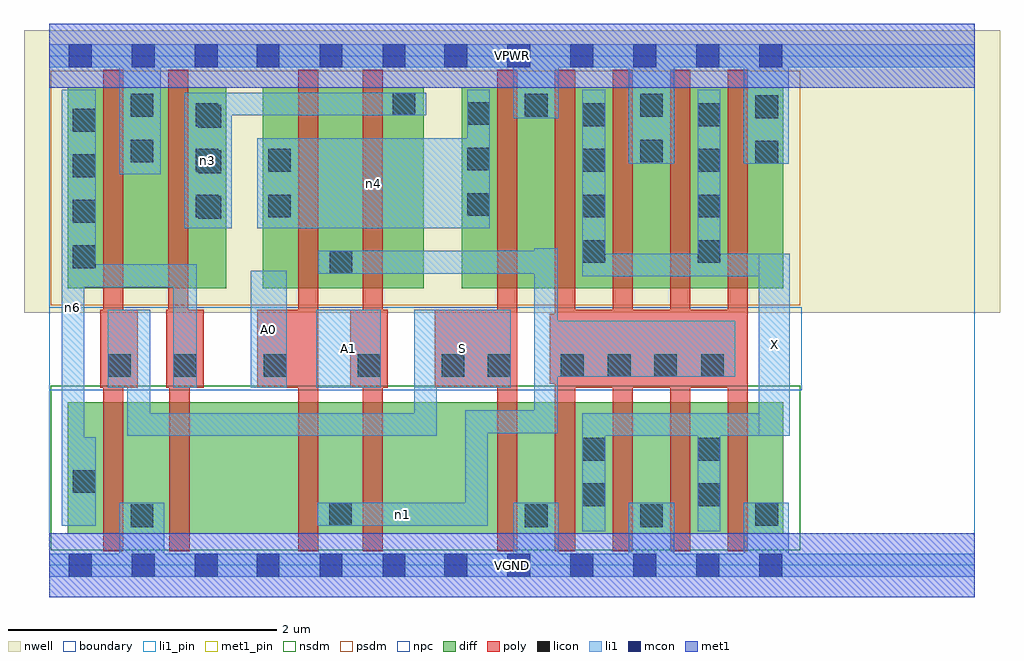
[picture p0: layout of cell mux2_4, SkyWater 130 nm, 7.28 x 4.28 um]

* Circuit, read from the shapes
.subckt mux2_4 A0 A1 S VGND VPWR X n1 n3 n4 n6
XM1 VGND S n6 VSUBS sky130_fd_pr__nfet_01v8 w=0.98 l=0.15
XM2 n2 n6 VGND VSUBS sky130_fd_pr__nfet_01v8 w=0.98 l=0.15
XM3 n1 A0 n2 VSUBS sky130_fd_pr__nfet_01v8 w=0.98 l=0.15
XM4 n5 A1 n1 VSUBS sky130_fd_pr__nfet_01v8 w=0.98 l=0.15
XM5 VGND S n5 VSUBS sky130_fd_pr__nfet_01v8 w=0.98 l=0.15
XM6 X n1 VGND VSUBS sky130_fd_pr__nfet_01v8 w=0.98 l=0.15 m=4
XM7 VPWR S n6 n7 sky130_fd_pr__pfet_01v8 w=1.5 l=0.15
XM8 n3 n6 VPWR n7 sky130_fd_pr__pfet_01v8 w=1.5 l=0.15
XM9 n1 A0 n4 n7 sky130_fd_pr__pfet_01v8 w=1.5 l=0.15
XM10 n3 A1 n1 n7 sky130_fd_pr__pfet_01v8 w=1.5 l=0.15
XM11 VPWR S n4 n7 sky130_fd_pr__pfet_01v8 w=1.5 l=0.15
XM12 X n1 VPWR n7 sky130_fd_pr__pfet_01v8 w=1.5 l=0.15 m=4
.ends

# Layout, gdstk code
import gdstk
lib = gdstk.Library(unit=1e-6, precision=1e-09)
def R(c, l, rs):  # rectangles x0, y0, x1, y1
    for r in rs: c.add(gdstk.rectangle(r[:2], r[2:], *l))
def A(c, l, x, y, w, h, nx, ny, dx, dy):  # array of equal rectangles
    R(c, l, [(x+i*dx, y+j*dy, x+i*dx+w, y+j*dy+h) for i in range(nx) for j in range(ny)])
nwell = (64, 20)
diff = (65, 20)
poly = (66, 20)
licon = (66, 44)
li1_pin = (67, 16)
li1 = (67, 20)
mcon = (67, 44)
met1_pin = (68, 16)
met1 = (68, 20)
nsdm = (93, 44)
psdm = (94, 20)
npc = (95, 20)
boundary = (235, 4)

mux2_4 = lib.new_cell('mux2_4')
R(mux2_4, nwell, [(-0.19,1.885,7.09,3.99), (0,1.885,6.9,3.99)])
R(mux2_4, diff, [(0.135,0.235,5.475,1.215), (0.135,2.065,1.32,3.565), (1.59,2.065,2.79,3.565), (3.075,2.065,5.475,3.565)])
A(mux2_4, poly, 3.34, 0.105, 0.15, 3.59, 5, 1, 0.43, 0)
R(mux2_4, poly, [(0.4,0.105,0.55,3.695), (0.895,0.105,1.045,1.905), (1.855,0.105,2.005,3.695), (2.335,0.105,2.485,3.695), (0.38,1.325,0.66,1.905), (0.87,1.325,1.15,1.905), (0.885,1.325,1.035,3.695), (1.55,1.325,2.005,1.905), (2.245,1.325,2.525,1.905), (2.875,1.325,3.49,1.905), (3.77,1.325,5.21,1.905), (3.73,1.355,5.21,1.875)])
A(mux2_4, licon, 0.175, 2.215, 0.17, 0.17, 1, 4, 0, 0.34)
A(mux2_4, licon, 3.975, 2.255, 0.17, 0.17, 1, 4, 0, 0.34)
A(mux2_4, licon, 4.835, 2.255, 0.17, 0.17, 1, 4, 0, 0.34)
A(mux2_4, licon, 1.11, 2.585, 0.17, 0.17, 1, 3, 0, 0.34)
A(mux2_4, licon, 1.09, 2.595, 0.17, 0.17, 1, 3, 0, 0.34)
A(mux2_4, licon, 3.115, 2.605, 0.17, 0.17, 1, 3, 0, 0.34)
R(mux2_4, licon, [(0.605,0.285,0.775,0.455), (3.545,0.285,3.715,0.455), (4.405,0.285,4.575,0.455), (2.085,0.295,2.255,0.465), (5.265,0.295,5.435,0.465), (3.975,0.44,4.145,0.61), (4.835,0.44,5.005,0.61), (0.175,0.54,0.345,0.71), (3.975,0.78,4.145,0.95), (4.835,0.78,5.005,0.95), (0.435,1.405,0.605,1.575), (0.925,1.405,1.095,1.575), (1.6,1.405,1.77,1.575), (2.3,1.405,2.47,1.575), (2.925,1.405,3.095,1.575), (3.27,1.405,3.44,1.575), (3.815,1.405,3.985,1.575), (4.165,1.405,4.335,1.575), (4.51,1.405,4.68,1.575), (4.86,1.405,5.03,1.575), (2.09,2.175,2.26,2.345), (1.63,2.595,1.8,2.765), (1.63,2.935,1.8,3.105), (5.265,2.995,5.435,3.165), (0.605,3.005,0.775,3.175), (4.405,3.005,4.575,3.175), (5.265,3.335,5.435,3.505), (0.605,3.345,0.775,3.515), (3.545,3.345,3.715,3.515), (4.405,3.345,4.575,3.515), (2.56,3.355,2.73,3.525)])
R(mux2_4, li1_pin, [(5.29,0.965,5.52,2.325), (1.5,1.325,1.77,2.195), (1.99,1.325,2.47,1.905), (2.72,1.325,3.44,1.905)])
R(mux2_4, li1, [(0,-0.085,6.9,0.085), (0.52,-0.085,0.855,0.465), (3.46,-0.085,3.8,0.465), (4.32,-0.085,4.66,0.465), (5.18,-0.085,5.515,0.465), (3.975,0.255,4.145,1.135), (4.835,0.255,5.005,1.135), (0.09,0.295,0.26,3.545), (0.09,0.295,0.345,0.955), (2,0.295,3.27,0.465), (3.1,0.295,3.27,1.155), (0.58,0.965,2.89,1.135), (0.58,0.965,0.75,1.905), (2.72,0.965,2.89,1.905), (3.975,0.965,5.52,1.135), (5.29,0.965,5.52,2.325), (3.1,0.985,3.79,1.155), (3.615,0.985,3.79,2.365), (0.435,1.325,0.75,1.905), (0.925,1.325,1.1,2.245), (1.5,1.325,1.77,2.195), (1.99,1.325,2.47,1.905), (2.72,1.325,3.44,1.905), (3.615,1.405,5.115,1.825), (0.09,2.075,1.1,2.245), (0.09,2.075,0.345,3.545), (3.975,2.155,5.52,2.325), (3.975,2.155,4.145,3.545), (4.835,2.155,5.005,3.545), (2.005,2.175,3.79,2.345), (1.005,2.515,1.36,3.525), (1.55,2.515,3.285,3.185), (3.115,2.515,3.285,3.545), (0.52,2.915,0.83,3.885), (4.32,2.995,4.66,3.885), (5.18,2.995,5.515,3.885), (3.46,3.335,3.8,3.885), (1.005,3.355,2.81,3.525), (0,3.715,6.9,3.885)])
A(mux2_4, mcon, 0.145, -0.085, 0.17, 0.17, 3, 2, 0.47, 3.8)
A(mux2_4, mcon, 1.545, -0.085, 0.17, 0.17, 3, 2, 0.47, 3.8)
A(mux2_4, mcon, 2.945, -0.085, 0.17, 0.17, 6, 2, 0.47, 3.8)
R(mux2_4, met1_pin, [(0,-0.24,6.9,0.24), (0,3.56,6.9,4.04)])
R(mux2_4, met1, [(0,-0.24,6.9,0.24), (0,3.56,6.9,4.04)])
R(mux2_4, nsdm, [(0.01,0.11,5.6,1.34)])
R(mux2_4, psdm, [(0.01,1.94,5.6,3.69)])
R(mux2_4, npc, [(0,1.305,5.61,1.925)])
R(mux2_4, boundary, [(0,0,6.9,3.8)])
mux2_4.add(gdstk.Label('A0', (1.635,1.76), layer=67, texttype=5))
mux2_4.add(gdstk.Label('A1', (2.23,1.615), layer=67, texttype=5))
mux2_4.add(gdstk.Label('S', (3.08,1.615), layer=67, texttype=5))
mux2_4.add(gdstk.Label('X', (5.405,1.645), layer=67, texttype=5))
mux2_4.add(gdstk.Label('n1', (2.635,0.38), layer=67, texttype=5))
mux2_4.add(gdstk.Label('n3', (1.182,3.02), layer=67, texttype=5))
mux2_4.add(gdstk.Label('n6', (0.175,1.92), layer=67, texttype=5))
mux2_4.add(gdstk.Label('n4', (2.417,2.85), layer=67, texttype=5))
mux2_4.add(gdstk.Label('VPWR', (3.45,3.8), layer=68, texttype=5))
mux2_4.add(gdstk.Label('VGND', (3.45,0), layer=68, texttype=5))
mux2_4.add(gdstk.Label('A0', (1.635,1.76), layer=67, texttype=16))
mux2_4.add(gdstk.Label('A1', (2.23,1.615), layer=67, texttype=16))
mux2_4.add(gdstk.Label('S', (3.08,1.615), layer=67, texttype=16))
mux2_4.add(gdstk.Label('X', (5.405,1.645), layer=67, texttype=16))
mux2_4.add(gdstk.Label('VPWR', (3.45,3.8), layer=68, texttype=16))
mux2_4.add(gdstk.Label('VGND', (3.45,0), layer=68, texttype=16))

lib.write_gds('mux2_4.gds')
